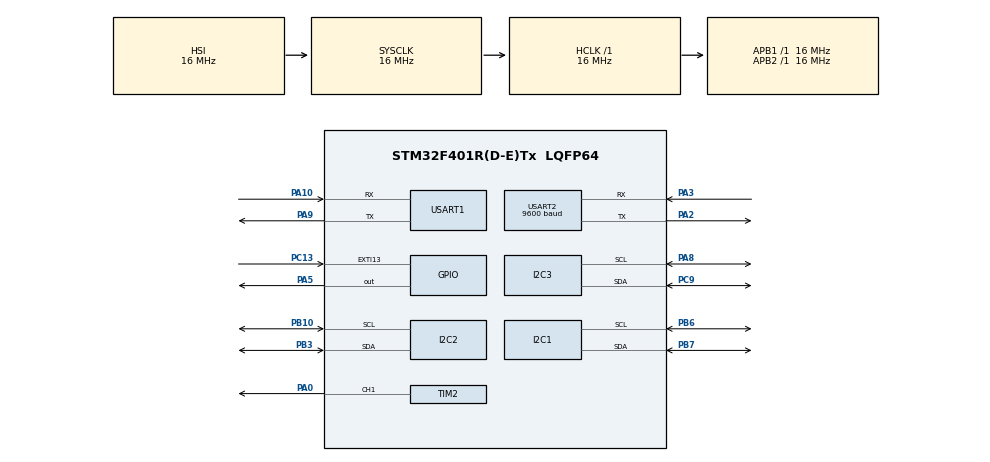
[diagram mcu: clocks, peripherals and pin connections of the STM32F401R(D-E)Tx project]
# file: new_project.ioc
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Dma.Request0=USART1_RX
Dma.Request1=USART1_TX
Dma.Request2=USART2_RX
Dma.Request3=USART2_TX
Dma.USART1_RX.0.Direction=DMA_PERIPH_TO_MEMORY
Dma.USART1_RX.0.FIFOMode=DMA_FIFOMODE_DISABLE
Dma.USART1_RX.0.Instance=DMA2_Stream2
Dma.USART1_RX.0.MemDataAlignment=DMA_MDATAALIGN_BYTE
Dma.USART1_RX.0.MemInc=DMA_MINC_ENABLE
Dma.USART1_RX.0.Mode=DMA_NORMAL
Dma.USART1_RX.0.PeriphDataAlignment=DMA_PDATAALIGN_BYTE
Dma.USART1_RX.0.PeriphInc=DMA_PINC_DISABLE
Dma.USART1_RX.0.Priority=DMA_PRIORITY_LOW
Dma.USART1_TX.1.Direction=DMA_MEMORY_TO_PERIPH
Dma.USART1_TX.1.FIFOMode=DMA_FIFOMODE_DISABLE
Dma.USART1_TX.1.Instance=DMA2_Stream7
Dma.USART1_TX.1.MemDataAlignment=DMA_MDATAALIGN_BYTE
Dma.USART1_TX.1.MemInc=DMA_MINC_ENABLE
Dma.USART1_TX.1.Mode=DMA_NORMAL
Dma.USART1_TX.1.PeriphDataAlignment=DMA_PDATAALIGN_BYTE
Dma.USART1_TX.1.PeriphInc=DMA_PINC_DISABLE
Dma.USART1_TX.1.Priority=DMA_PRIORITY_LOW
Dma.USART2_RX.2.Direction=DMA_PERIPH_TO_MEMORY
Dma.USART2_RX.2.FIFOMode=DMA_FIFOMODE_DISABLE
Dma.USART2_RX.2.Instance=DMA1_Stream5
Dma.USART2_RX.2.MemDataAlignment=DMA_MDATAALIGN_BYTE
Dma.USART2_RX.2.MemInc=DMA_MINC_ENABLE
Dma.USART2_RX.2.Mode=DMA_NORMAL
Dma.USART2_RX.2.PeriphDataAlignment=DMA_PDATAALIGN_BYTE
Dma.USART2_RX.2.PeriphInc=DMA_PINC_DISABLE
Dma.USART2_RX.2.Priority=DMA_PRIORITY_LOW
Dma.USART2_TX.3.Direction=DMA_MEMORY_TO_PERIPH
Dma.USART2_TX.3.FIFOMode=DMA_FIFOMODE_DISABLE
Dma.USART2_TX.3.Instance=DMA1_Stream6
Dma.USART2_TX.3.MemDataAlignment=DMA_MDATAALIGN_BYTE
Dma.USART2_TX.3.MemInc=DMA_MINC_ENABLE
Dma.USART2_TX.3.Mode=DMA_NORMAL
Dma.USART2_TX.3.PeriphDataAlignment=DMA_PDATAALIGN_BYTE
Dma.USART2_TX.3.PeriphInc=DMA_PINC_DISABLE
Dma.USART2_TX.3.Priority=DMA_PRIORITY_LOW
Mcu.Family=STM32F4
Mcu.Name=STM32F401R(D-E)Tx
Mcu.Package=LQFP64
NVIC.DMA1_Stream5_IRQn=true\:0\:0\:false\:false\:true\:false\:true
NVIC.DMA1_Stream6_IRQn=true\:0\:0\:false\:false\:true\:false\:true
NVIC.DMA2_Stream2_IRQn=true\:0\:0\:false\:false\:true\:false\:true
NVIC.DMA2_Stream7_IRQn=true\:0\:0\:false\:false\:true\:false\:true
NVIC.EXTI15_10_IRQn=true\:0\:0\:false\:false\:true\:true\:true
NVIC.I2C1_ER_IRQn=true\:0\:0\:false\:false\:true\:true\:true
NVIC.I2C1_EV_IRQn=true\:0\:0\:false\:false\:true\:true\:true
NVIC.I2C2_ER_IRQn=true\:0\:0\:false\:false\:true\:true\:true
NVIC.I2C2_EV_IRQn=true\:0\:0\:false\:false\:true\:true\:true
NVIC.I2C3_ER_IRQn=true\:0\:0\:false\:false\:true\:true\:true
NVIC.I2C3_EV_IRQn=true\:0\:0\:false\:false\:true\:true\:true
NVIC.PriorityGroup=NVIC_PRIORITYGROUP_4
NVIC.TIM1_BRK_TIM9_IRQn=true\:0\:0\:false\:false\:true\:true\:true
NVIC.TIM1_TRG_COM_TIM11_IRQn=true\:0\:0\:false\:false\:true\:true\:true
NVIC.TIM1_UP_TIM10_IRQn=true\:0\:0\:false\:false\:true\:true\:true
NVIC.TIM2_IRQn=true\:0\:0\:false\:false\:true\:true\:true
NVIC.TIM3_IRQn=true\:0\:0\:false\:false\:true\:true\:true
NVIC.TIM4_IRQn=true\:0\:0\:false\:false\:true\:true\:true
NVIC.TIM5_IRQn=true\:0\:0\:false\:false\:true\:true\:true
NVIC.USART1_IRQn=true\:0\:0\:false\:false\:true\:true\:true
NVIC.USART2_IRQn=true\:0\:0\:false\:false\:true\:true\:true
PA0-WKUP.Signal=S_TIM2_CH1_ETR
PA10.Mode=Asynchronous
PA10.Signal=USART1_RX
PA2.Mode=Asynchronous
PA2.Signal=USART2_TX
PA3.Mode=Asynchronous
PA3.Signal=USART2_RX
PA5.Signal=GPIO_Output
PA8.Mode=I2C
PA8.Signal=I2C3_SCL
PA9.Mode=Asynchronous
PA9.Signal=USART1_TX
PB10.Mode=I2C
PB10.Signal=I2C2_SCL
PB3.Mode=I2C
PB3.Signal=I2C2_SDA
PB6.Mode=I2C
PB6.Signal=I2C1_SCL
PB7.Mode=I2C
PB7.Signal=I2C1_SDA
PC13-ANTI_TAMP.Signal=GPXTI13
PC9.Mode=I2C
PC9.Signal=I2C3_SDA
PH0\ -\ OSC_IN.Mode=HSE-External-Oscillator
PH0\ -\ OSC_IN.Signal=RCC_OSC_IN
PH1\ -\ OSC_OUT.Mode=HSE-External-Oscillator
PH1\ -\ OSC_OUT.Signal=RCC_OSC_OUT
ProjectManager.HeapSize=0x200
ProjectManager.StackSize=0x400
ProjectManager.TargetToolchain=STM32CubeIDE
RCC.AHBFreq_Value=16000000
RCC.APB1Freq_Value=16000000
RCC.APB2Freq_Value=16000000
RCC.CortexFreq_Value=16000000
RCC.HSE_VALUE=25000000
RCC.HSI_VALUE=16000000
RCC.LSE_VALUE=32768
RCC.SYSCLKFreq_VALUE=16000000
RCC.VCOOutputFreq_Value=192000000
SH.S_TIM2_CH1_ETR.0=TIM2_CH1,PWM Generation1 CH1
TIM1.Period=9999
TIM1.Prescaler=15999
TIM10.Period=9999
TIM10.Prescaler=47999
TIM11.Period=9999
TIM11.Prescaler=15999
TIM2.Channel-PWM\ Generation1\ CH1=TIM_CHANNEL_1
TIM2.Period=50
TIM2.Prescaler=15999
TIM3.Period=9999
TIM3.Prescaler=4799
TIM4.Period=9999
TIM4.Prescaler=15999
TIM5.Period=9999
TIM5.Prescaler=15999
TIM9.Period=19999
TIM9.Prescaler=47999
USART1.VirtualMode=VM_ASYNC
USART2.BaudRate=9600
USART2.VirtualMode=VM_ASYNC
VP_TIM10_VS_ClockSourceINT.Mode=Enable_Timer
VP_TIM11_VS_ClockSourceINT.Mode=Enable_Timer
VP_TIM1_VS_ClockSourceINT.Mode=Internal
VP_TIM2_VS_ClockSourceINT.Mode=Internal
VP_TIM3_VS_ClockSourceINT.Mode=Internal
VP_TIM4_VS_ClockSourceINT.Mode=Internal
VP_TIM5_VS_ClockSourceINT.Mode=Internal
VP_TIM9_VS_ClockSourceINT.Mode=Internal
board=custom

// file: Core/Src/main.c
/* USER CODE BEGIN Header */
/**
 ******************************************************************************
 * @file           : main.c
 * @brief          : Main program body
 ******************************************************************************
 * @attention
 *
 * <h2><center>&copy; Copyright (c) 2020 STMicroelectronics.
 * All rights reserved.</center></h2>
 *
 * This software component is licensed by ST under BSD 3-Clause license,
 * the "License"; You may not use this file except in compliance with the
 * License. You may obtain a copy of the License at:
 *                        opensource.org/licenses/BSD-3-Clause
 *
 ******************************************************************************
 */
/* USER CODE END Header */

#include "main.h"
#include "dma.h"
#include "i2c.h"
#include "tim.h"
#include "usart.h"
#include "gpio.h"

/* USER CODE BEGIN Includes */
#include "configuration.h"
#include "eeprom_i2c.h"
#include "ring_buffer.h"
#include "mqtt_log.h"
#include <string.h>
#include "lcd.h"
#include "log.h"
#include "datastructure.h"
#include "MAX30100.h"
#include "MAX30100_spo2_calculator.h"
#include "buzzer.h"
/* USER CODE END Includes */

/* USER CODE BEGIN PM */
RingBuffer dma_buffer;
char conf_buffer[CONFIGURATION_LENGTH + 1];
hr_ox_t hr_ox;
date_time_t date;
boot_status conf_status;
configuration conf;
pwm_status pwm;
buzzer_status buzzer;

/* USER CODE END PM */

void SystemClock_Config(void);

int main(void) {

	/* MCU Configuration--------------------------------------------------------*/

	/* Reset of all peripherals, Initializes the Flash interface and the Systick. */
	HAL_Init();

	/* Configure the system clock */
	SystemClock_Config();

	/* Initialize all configured peripherals */
	MX_GPIO_Init();
	MX_DMA_Init();
	MX_I2C1_Init();
	MX_I2C2_Init();
	MX_I2C3_Init();
	MX_TIM1_Init();
	MX_TIM2_Init();
	MX_TIM4_Init();
	MX_TIM5_Init();
	MX_TIM9_Init();
	MX_TIM10_Init();
	MX_TIM11_Init();
	MX_USART1_UART_Init();
	MX_USART2_UART_Init();
	MX_TIM3_Init();
	/* USER CODE BEGIN 2 */
	pwm = PWM_STOPPED;
	conf_status = CONFIGURATION_NOT_LOADED;
	hr_ox = hr_ox_init();
	date = date_init();
	configuration_init();
	buzzer_init();
	lcd_init();
	MAX30100_init();
	//tim9 start for system boot
	HAL_TIM_Base_Start_IT(&htim9);
	//waiting for eventual configuration from the User
	HAL_UART_Receive_DMA(&huart2, (uint8_t*) conf_buffer, CONFIGURATION_LENGTH);

	/* USER CODE END 2 */

	/* Infinite loop */
	while (1) {

	}
}

void SystemClock_Config(void) {
	RCC_OscInitTypeDef RCC_OscInitStruct = { 0 };
	RCC_ClkInitTypeDef RCC_ClkInitStruct = { 0 };

	/** Configure the main internal regulator output voltage
	 */
	__HAL_RCC_PWR_CLK_ENABLE();
	__HAL_PWR_VOLTAGESCALING_CONFIG(PWR_REGULATOR_VOLTAGE_SCALE2);
	/** Initializes the CPU, AHB and APB busses clocks
	 */
	RCC_OscInitStruct.OscillatorType = RCC_OSCILLATORTYPE_HSI;
	RCC_OscInitStruct.HSIState = RCC_HSI_ON;
	RCC_OscInitStruct.HSICalibrationValue = RCC_HSICALIBRATION_DEFAULT;
	RCC_OscInitStruct.PLL.PLLState = RCC_PLL_NONE;
	if (HAL_RCC_OscConfig(&RCC_OscInitStruct) != HAL_OK) {
		Error_Handler();
	}
	/** Initializes the CPU, AHB and APB busses clocks
	 */
	RCC_ClkInitStruct.ClockType = RCC_CLOCKTYPE_HCLK | RCC_CLOCKTYPE_SYSCLK
			| RCC_CLOCKTYPE_PCLK1 | RCC_CLOCKTYPE_PCLK2;
	RCC_ClkInitStruct.SYSCLKSource = RCC_SYSCLKSOURCE_HSI;
	RCC_ClkInitStruct.AHBCLKDivider = RCC_SYSCLK_DIV1;
	RCC_ClkInitStruct.APB1CLKDivider = RCC_HCLK_DIV1;
	RCC_ClkInitStruct.APB2CLKDivider = RCC_HCLK_DIV1;

	if (HAL_RCC_ClockConfig(&RCC_ClkInitStruct, FLASH_LATENCY_0) != HAL_OK) {
		Error_Handler();
	}
}

void Error_Handler(void) {
}

/************************ (C) COPYRIGHT STMicroelectronics *****END OF FILE****/
